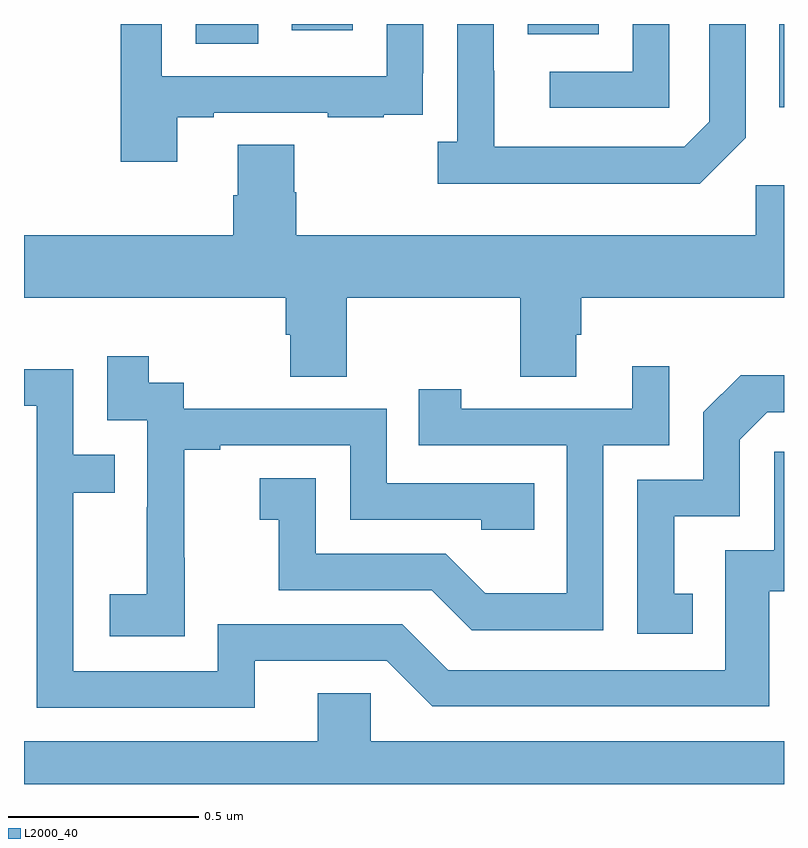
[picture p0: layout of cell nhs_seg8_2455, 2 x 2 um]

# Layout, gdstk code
import gdstk
lib = gdstk.Library(unit=1e-6, precision=1e-09)
def R(c, l, rs):  # rectangles x0, y0, x1, y1
    for r in rs: c.add(gdstk.rectangle(r[:2], r[2:], *l))
def P(c, l, *ps):  # polygons
    for p in ps: c.add(gdstk.Polygon(p, *l))
L2000_40 = (2000, 40)

nhs_seg8_2455 = lib.new_cell('nhs_seg8_2455')
R(nhs_seg8_2455, L2000_40, [(145.988,1103.681,146,1103.9), (144.452,1103.848,144.616,1103.9), (145.325,1103.873,145.513,1103.9), (144.704,1103.883,144.865,1103.9)])
P(nhs_seg8_2455, L2000_40, [(144.403,1103.655),(144.499,1103.655),(144.499,1103.667),(144.799,1103.667),(144.799,1103.655),(144.947,1103.655),(144.947,1103.661),(145.049,1103.661),(145.049,1103.77),(145.05,1103.77),(145.05,1103.9),(144.954,1103.9),(144.954,1103.763),(144.363,1103.763),(144.363,1103.9),(144.255,1103.9),(144.255,1103.538),(144.403,1103.538)],
  [(145.899,1103.601),(145.899,1103.9),(145.803,1103.9),(145.803,1103.643),(145.737,1103.577),(145.237,1103.577),(145.237,1103.777),(145.236,1103.777),(145.236,1103.9),(145.14,1103.9),(145.14,1103.59),(145.089,1103.59),(145.089,1103.48),(145.778,1103.48)],
  [(145.698,1103.9),(145.602,1103.9),(145.602,1103.775),(145.383,1103.775),(145.383,1103.679),(145.698,1103.679)],
  [(144.849,1103.18),(145.306,1103.18),(145.306,1102.972),(145.453,1102.972),(145.453,1103.082),(145.466,1103.082),(145.466,1103.18),(146,1103.18),(146,1103.476),(145.926,1103.476),(145.926,1103.344),(144.716,1103.344),(144.716,1103.457),(144.711,1103.457),(144.711,1103.582),(144.563,1103.582),(144.563,1103.45),(144.551,1103.45),(144.551,1103.344),(144,1103.344),(144,1103.18),(144.689,1103.18),(144.689,1103.082),(144.701,1103.082),(144.701,1102.972),(144.849,1102.972)],
  [(144.423,1102.495),(144.422,1102.495),(144.422,1102.779),(144.517,1102.779),(144.517,1102.791),(144.858,1102.791),(144.858,1102.596),(145.203,1102.596),(145.203,1102.569),(145.343,1102.569),(145.343,1102.692),(144.954,1102.692),(144.954,1102.887),(144.42,1102.887),(144.42,1102.956),(144.328,1102.956),(144.328,1103.026),(144.219,1103.026),(144.219,1102.857),(144.324,1102.857),(144.324,1102.628),(144.323,1102.628),(144.323,1102.399),(144.225,1102.399),(144.225,1102.289),(144.423,1102.289)],
  [(145.524,1102.791),(145.698,1102.791),(145.698,1102.999),(145.601,1102.999),(145.601,1102.887),(145.15,1102.887),(145.15,1102.939),(145.039,1102.939),(145.039,1102.791),(145.428,1102.791),(145.428,1102.402),(145.214,1102.402),(145.11,1102.506),(144.768,1102.506),(144.768,1102.705),(144.621,1102.705),(144.621,1102.595),(144.67,1102.595),(144.67,1102.41),(145.073,1102.41),(145.178,1102.305),(145.524,1102.305)],
  [(144.607,1102.224),(144.954,1102.224),(145.074,1102.104),(145.961,1102.104),(145.961,1102.407),(146,1102.407),(146,1102.774),(145.974,1102.774),(145.974,1102.515),(145.845,1102.515),(145.845,1102.2),(145.116,1102.2),(144.996,1102.32),(144.51,1102.32),(144.51,1102.197),(144.129,1102.197),(144.129,1102.666),(144.239,1102.666),(144.239,1102.767),(144.129,1102.767),(144.129,1102.992),(144,1102.992),(144,1102.896),(144.033,1102.896),(144.033,1102.101),(144.607,1102.101)],
  [(145.76,1102.401),(145.711,1102.401),(145.711,1102.605),(145.884,1102.605),(145.884,1102.806),(145.956,1102.878),(146,1102.878),(146,1102.976),(145.886,1102.976),(145.788,1102.878),(145.788,1102.701),(145.614,1102.701),(145.614,1102.296),(145.76,1102.296)],
  [(144,1101.9),(146,1101.9),(146,1102.012),(144.912,1102.012),(144.912,1102.139),(144.773,1102.139),(144.773,1102.012),(144,1102.012)])

lib.write_gds('nhs_seg8_2455.gds')
